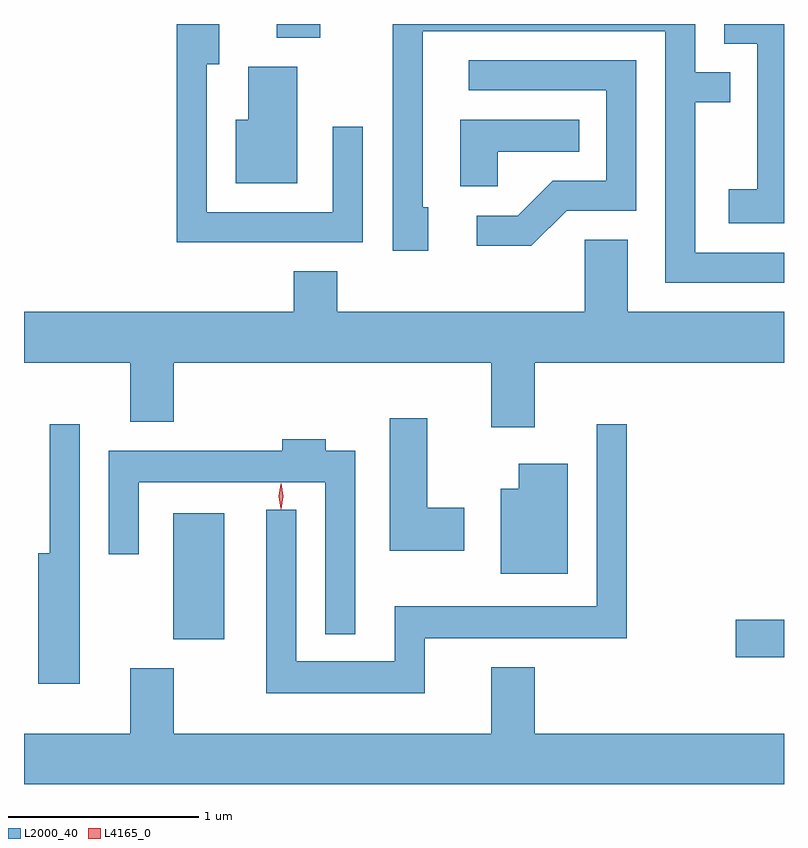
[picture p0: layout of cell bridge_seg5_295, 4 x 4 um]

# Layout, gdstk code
import gdstk
lib = gdstk.Library(unit=1e-6, precision=1e-09)
def R(c, l, rs):  # rectangles x0, y0, x1, y1
    for r in rs: c.add(gdstk.rectangle(r[:2], r[2:], *l))
def P(c, l, *ps):  # polygons
    for p in ps: c.add(gdstk.Polygon(p, *l))
L2000_40 = (2000, 40)
L4165_0 = (4165, 0)

bridge_seg5_295 = lib.new_cell('bridge_seg5_295')
R(bridge_seg5_295, L2000_40, [(666.296,1515.186,666.551,1515.384), (663.336,1515.281,663.604,1515.944), (663.881,1518.446,664.109,1518.519)])
P(bridge_seg5_295, L2000_40, [(666.551,1517.314),(666.084,1517.314),(666.084,1518.106),(666.268,1518.106),(666.268,1518.264),(666.084,1518.264),(666.084,1518.519),(664.491,1518.519),(664.491,1517.326),(664.679,1517.326),(664.679,1517.554),(664.649,1517.554),(664.649,1518.481),(665.926,1518.481),(665.926,1517.156),(666.551,1517.156)],
  [(666.551,1518.519),(666.236,1518.519),(666.236,1518.416),(666.411,1518.416),(666.411,1517.649),(666.261,1517.649),(666.261,1517.471),(666.551,1517.471)],
  [(664.334,1517.978),(664.176,1517.978),(664.176,1517.529),(663.514,1517.529),(663.514,1518.306),(663.579,1518.306),(663.579,1518.519),(663.356,1518.519),(663.356,1517.371),(664.334,1517.371)],
  [(665.407,1517.536),(665.774,1517.536),(665.774,1518.329),(664.893,1518.329),(664.893,1518.171),(665.616,1518.171),(665.616,1517.694),(665.334,1517.694),(665.149,1517.509),(664.933,1517.509),(664.933,1517.351),(665.222,1517.351)],
  [(663.989,1518.294),(663.731,1518.294),(663.731,1518.014),(663.666,1518.014),(663.666,1517.681),(663.989,1517.681)],
  [(665.044,1517.846),(665.473,1517.846),(665.473,1518.014),(664.846,1518.014),(664.846,1517.666),(665.044,1517.666)],
  [(665.239,1516.736),(666.551,1516.736),(666.551,1517.004),(665.729,1517.004),(665.729,1517.384),(665.501,1517.384),(665.501,1517.004),(664.199,1517.004),(664.199,1517.219),(663.971,1517.219),(663.971,1517.004),(662.551,1517.004),(662.551,1516.736),(663.111,1516.736),(663.111,1516.426),(663.339,1516.426),(663.339,1516.736),(665.011,1516.736),(665.011,1516.396),(665.239,1516.396)],
  [(664.869,1515.974),(664.674,1515.974),(664.674,1516.444),(664.476,1516.444),(664.476,1515.746),(664.869,1515.746)],
  [(664.659,1515.286),(665.724,1515.286),(665.724,1516.413),(665.566,1516.413),(665.566,1515.454),(664.501,1515.454),(664.501,1515.164),(663.984,1515.164),(663.984,1515.963),(663.826,1515.963),(663.826,1514.996),(664.659,1514.996)],
  [(662.844,1516.413),(662.686,1516.413),(662.686,1515.734),(662.626,1515.734),(662.626,1515.046),(662.844,1515.046)],
  [(664.294,1516.274),(664.139,1516.274),(664.139,1516.334),(663.911,1516.334),(663.911,1516.274),(662.996,1516.274),(662.996,1515.728),(663.154,1515.728),(663.154,1516.106),(664.136,1516.106),(664.136,1515.308),(664.294,1515.308)],
  [(665.414,1516.204),(665.156,1516.204),(665.156,1516.074),(665.061,1516.074),(665.061,1515.626),(665.414,1515.626)],
  [(666.551,1514.784),(665.239,1514.784),(665.239,1515.134),(665.011,1515.134),(665.011,1514.784),(663.339,1514.784),(663.339,1515.129),(663.111,1515.129),(663.111,1514.784),(662.551,1514.784),(662.551,1514.519),(666.551,1514.519)])
P(bridge_seg5_295, L4165_0, [(663.904,1515.964),(663.895,1516.033),(663.904,1516.102),(663.905,1516.103),(663.905,1516.102),(663.915,1516.033),(663.905,1515.964),(663.905,1515.964)],
  [(663.902,1515.967),(663.902,1515.967),(663.892,1516.034),(663.901,1516.1),(663.902,1516.1),(663.902,1516.1),(663.912,1516.034),(663.902,1515.967)])

lib.write_gds('bridge_seg5_295.gds')
